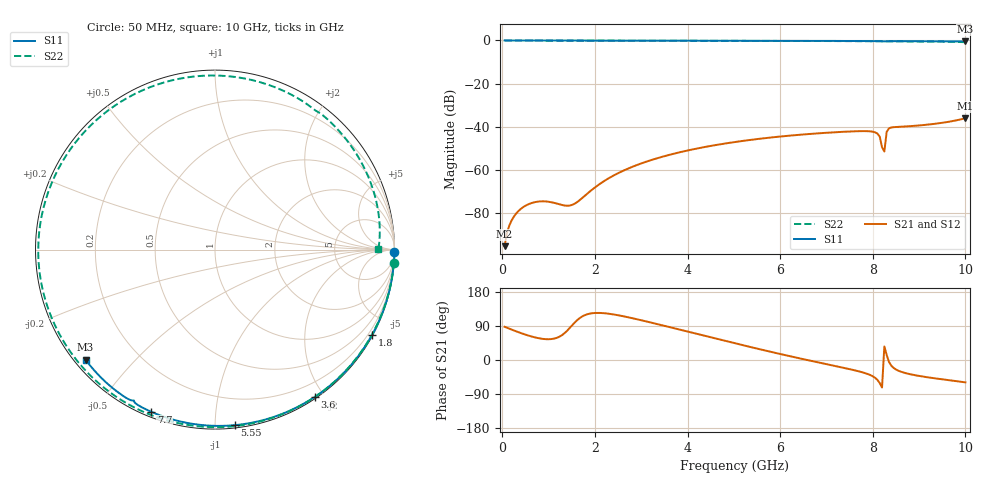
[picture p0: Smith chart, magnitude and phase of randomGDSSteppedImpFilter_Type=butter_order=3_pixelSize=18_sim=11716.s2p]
! freq	dB(S11)	phase(S11)	dB(S12)	phase(S12)
!  dB(S21)	phase(S21)	dB(S22)	phase(S22)
!S-par simulation data
#  GHz  S  DB  R 50
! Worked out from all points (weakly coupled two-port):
!   200 points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, 50 MHz to 10 GHz, reference 50 ohm
!   highest |S21| = -36.00 dB at 10 GHz (marker M1); lowest = -95.2 dB at 50 MHz (marker M2)
!   lowest |S11| = -0.5 dB at 10 GHz (marker M3), VSWR 36.57, Z = 1.55 - j18.4 ohm
!   |S11| at or under -10 dB: nowhere
!   |S22| runs from -0.8 to 0.0 dB; largest |S21 - S12| = 0
!   S11 on the Smith chart (normalised r, x): 50 MHz: open; 1.8 GHz: 0.03, -3.91; 3.6 GHz: 0.02, -1.88; 5.55 GHz: 0.02, -1.12; 7.7 GHz: 0.02, -0.68; 10 GHz: 0.03, -0.37
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0.05  -0.00 -0.8  -95.18 87.6  -95.18 87.6  -0.00 -4.2
0.3  -0.01 -4.8  -80.07 75.6  -80.07 75.6  -0.04 -24.7
0.5  -0.01 -8.1  -76.47 67.0  -76.47 67.0  -0.06 -40.4
0.85  -0.02 -13.7  -74.44 56.1  -74.44 56.1  -0.08 -65.9
1.45  -0.03 -23.2  -76.41 83.7  -76.41 83.7  -0.10 -102.3
1.75  -0.04 -27.9  -72.46 116.5  -72.46 116.5  -0.11 -117.3
1.8  -0.04 -28.7  -71.53 119.2  -71.53 119.2  -0.11 -119.6
2.55  -0.05 -40.2  -60.89 117.0  -60.89 117.0  -0.12 -149.8
3.4  -0.07 -53.0  -54.15 93.2  -54.15 93.2  -0.13 -177.0
3.6  -0.08 -56.0  -52.97 87.2  -52.97 87.2  -0.13 177.3
5.05  -0.12 -76.6  -46.91 43.3  -46.91 43.3  -0.18 138.9
5.55  -0.14 -83.5  -45.50 28.7  -45.50 28.7  -0.20 126.2
6.7  -0.19 -98.7  -43.16 -3.1  -43.16 -3.1  -0.25 96.6
7.7  -0.26 -111.5  -41.97 -30.0  -41.97 -30.0  -0.32 69.5
8.1  -0.30 -116.6  -43.10 -52.4  -43.10 -52.4  -0.36 58.3
8.15  -0.32 -117.3  -44.50 -60.9  -44.50 -60.9  -0.37 56.9
8.2  -0.36 -118.0  -49.39 -72.5  -49.39 -72.5  -0.39 55.5
8.25  -0.41 -118.3  -51.39 35.9  -51.39 35.9  -0.39 54.2
8.3  -0.38 -118.5  -42.32 13.5  -42.32 13.5  -0.37 52.9
8.35  -0.34 -119.1  -40.66 -5.0  -40.66 -5.0  -0.36 51.3
9.25  -0.39 -130.5  -38.79 -46.8  -38.79 -46.8  -0.49 24.5
10  -0.48 -139.6  -36.00 -59.0  -36.00 -59.0  -0.81 0.3
